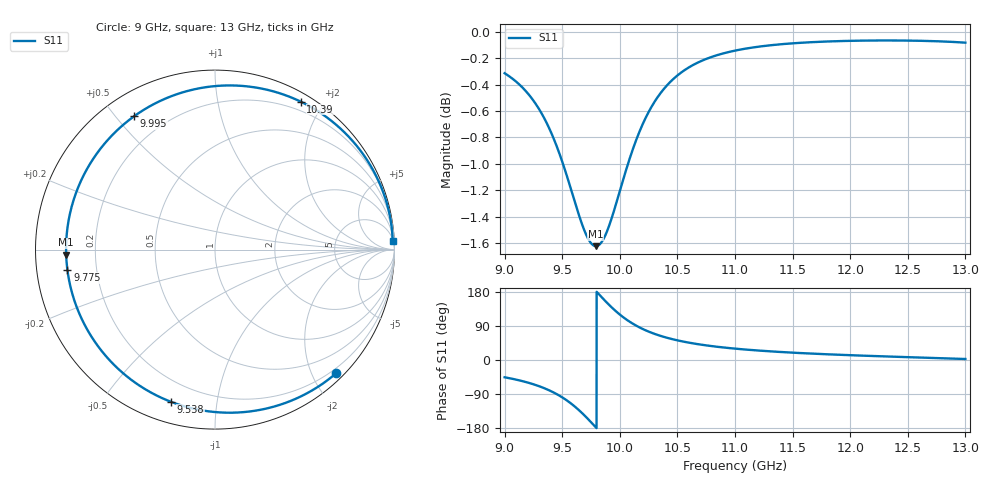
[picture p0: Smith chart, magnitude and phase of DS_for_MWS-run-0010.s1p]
! TOUCHSTONE file generated by CST DESIGN STUDIO
! Date and time: Tue Feb  4 17:04:30 2025
! Project name: C:\Work\MatlabApps\UnitCellOptimizationMatlab\CST\unitcell.cst
! Tree item: Tasks\Sweep1\SPara1\S-Parameters
! Header version: 2024
! Port assignment regex: !\s*Touchstone port\s*([0-9]+)\s*=\s*(CST MWS port|CST DES external port|CST DES block port)\s*(.+)\s* \(\"(.*)\"\)(\s*mode\s*([0-9]+))?.*
! Touchstone port assignment:
! Touchstone port 1 = CST DES external port 1 ("")
# GHz S MA R 50
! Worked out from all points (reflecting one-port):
!   4001 points, 9 GHz to 13 GHz, reference 50 ohm
!   lowest |S11| = -1.6 dB at 9.793 GHz (marker M1), VSWR 10.75, Z = 4.65 - j0.833 ohm
!   phase of S11 starts at -46 deg and turns -312 deg over the sweep
!   S11 on the Smith chart (normalised r, x): 9 GHz: 0.12, -2.37; 9.538 GHz: 0.10, -0.75; 9.775 GHz: 0.09, -0.07; 9.995 GHz: 0.09, +0.56; 10.39 GHz: 0.10, +1.73; 13 GHz: 9, +42
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9  0.9644 -45.6
9.143  0.9536 -54.9
9.274  0.9385 -66.4
9.388  0.9192 -80.2
9.448  0.9061 -89.3
9.5  0.8931 -98.5
9.538  0.8827 -106.2
9.597  0.8659 -119.7
9.653  0.8505 -134.5
9.718  0.8363 -153.8
9.775  0.8301 -172.2
9.793  0.8297 -178.1
9.837  0.8321 167.5
9.882  0.8391 153.1
9.939  0.8528 136.1
9.995  0.869 121.2
10  0.8705 120.0
10.072  0.8916 103.7
10.154  0.9128 88.7
10.27  0.9358 72.5
10.395  0.9527 59.9
10.5  0.9626 51.9
10.717  0.9752 40.0
11  0.9836 30.0
11.5  0.9898 19.4
12  0.992 12.7
12.5  0.9922 7.5
13  0.9904 2.6
